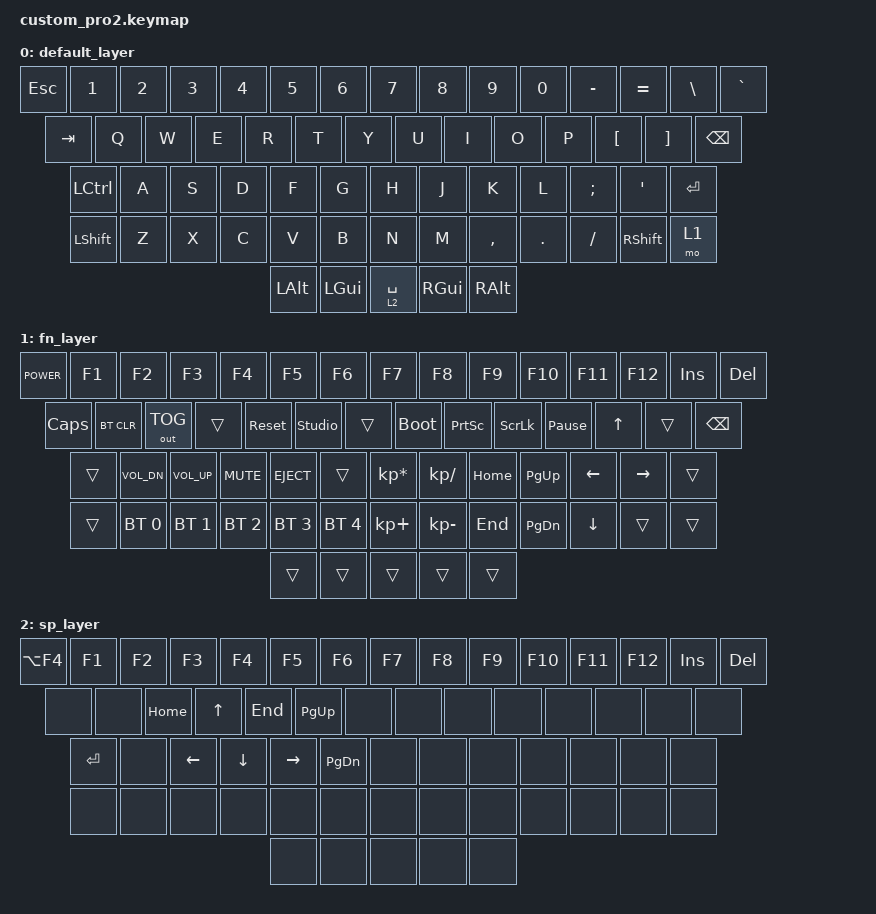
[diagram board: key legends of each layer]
#include <behaviors.dtsi>
#include <dt-bindings/zmk/bt.h>
#include <dt-bindings/zmk/keys.h>
#include <dt-bindings/zmk/outputs.h>

/ {
    keymap {
        compatible = "zmk,keymap";

        default_layer {
            bindings = <
&kp ESC  &kp N1  &kp N2  &kp N3  &kp N4  &kp N5  &kp N6  &kp N7  &kp N8  &kp N9  &kp N0  &kp MINUS  &kp EQUAL  &kp BSLH  &kp GRAVE
&kp TAB  &kp Q  &kp W  &kp E  &kp R  &kp T  &kp Y  &kp U  &kp I  &kp O  &kp P  &kp LBKT  &kp RBKT  &kp BSPC
&kp LCTRL  &kp A  &kp S  &kp D  &kp F  &kp G  &kp H  &kp J  &kp K  &kp L  &kp SEMI  &kp SQT  &kp ENTER
&kp LSHFT  &kp Z  &kp X  &kp C  &kp V  &kp B  &kp N  &kp M  &kp COMMA  &kp DOT  &kp SLASH  &kp RSHFT  &mo 1
&kp LALT  &kp LGUI  &lt 2 SPACE  &kp RGUI  &kp RALT
            >;
        };

        fn_layer {
            bindings = <
&kp K_POWER  &kp F1  &kp F2  &kp F3  &kp F4  &kp F5  &kp F6  &kp F7  &kp F8  &kp F9  &kp F10  &kp F11  &kp F12  &kp INS  &kp DEL
&kp CAPS  &bt BT_CLR  &out OUT_TOG  &trans  &sys_reset  &studio_unlock  &trans  &bootloader  &kp PSCRN  &kp SLCK  &kp PAUSE_BREAK  &kp UP  &trans  &kp BSPC  &trans  &kp C_VOL_DN  &kp C_VOL_UP  &kp C_MUTE  &kp C_EJECT  &trans  &kp KP_MULTIPLY  &kp KP_DIVIDE  &kp HOME  &kp PG_UP  &kp LEFT  &kp RIGHT  &trans
&trans  &bt BT_SEL 0  &bt BT_SEL 1  &bt BT_SEL 2  &bt BT_SEL 3  &bt BT_SEL 4  &kp KP_PLUS  &kp KP_MINUS  &kp END  &kp PG_DN  &kp DOWN  &trans  &trans
&trans  &trans  &trans  &trans  &trans
            >;
        };

        sp_layer {
            bindings = <
&kp LA(F4)  &kp F1  &kp F2  &kp F3  &kp F4  &kp F5  &kp F6  &kp F7  &kp F8  &kp F9  &kp F10  &kp F11  &kp F12  &kp INS  &kp DEL
&none  &none  &kp HOME  &kp UP_ARROW  &kp END  &kp PAGE_UP  &none  &none  &none  &none  &none  &none  &none  &none  
&kp ENTER  &none  &kp LEFT_ARROW  &kp DOWN_ARROW  &kp RIGHT_ARROW  &kp PAGE_DOWN  &none  &none  &none  &none  &none  &none  &none  
&none  &none  &none  &none  &none  &none  &none  &none  &none  &none  &none  &none  &none
&none  &none  &none  &none  &none
            >;
        };
    };
};
